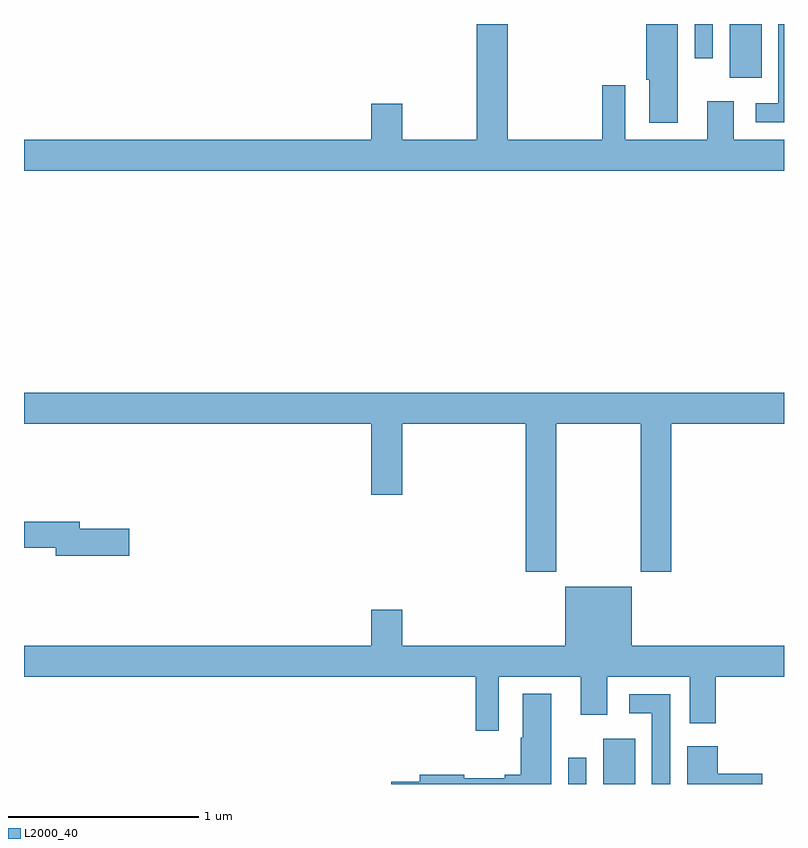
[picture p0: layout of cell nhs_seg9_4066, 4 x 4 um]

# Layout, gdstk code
import gdstk
lib = gdstk.Library(unit=1e-6, precision=1e-09)
def R(c, l, rs):  # rectangles x0, y0, x1, y1
    for r in rs: c.add(gdstk.rectangle(r[:2], r[2:], *l))
def P(c, l, *ps):  # polygons
    for p in ps: c.add(gdstk.Polygon(p, *l))
L2000_40 = (2000, 40)

nhs_seg9_4066 = lib.new_cell('nhs_seg9_4066')
R(nhs_seg9_4066, L2000_40, [(345.864,1218.5,345.96,1218.637), (346.049,1218.5,346.216,1218.739), (346.715,1222.218,346.882,1222.5), (346.53,1222.32,346.626,1222.5)])
P(nhs_seg9_4066, L2000_40, [(346.441,1222.5),(346.274,1222.5),(346.274,1222.206),(346.292,1222.206),(346.292,1221.981),(346.441,1221.981)],
  [(347,1222.5),(346.971,1222.5),(346.971,1222.084),(346.851,1222.084),(346.851,1221.983),(347,1221.983)],
  [(347,1221.892),(346.735,1221.892),(346.735,1222.093),(346.595,1222.093),(346.595,1221.892),(346.165,1221.892),(346.165,1222.177),(346.044,1222.177),(346.044,1221.892),(345.547,1221.892),(345.547,1222.5),(345.383,1222.5),(345.383,1221.892),(344.992,1221.892),(344.992,1222.081),(344.828,1222.081),(344.828,1221.892),(343,1221.892),(343,1221.728),(347,1221.728)],
  [(345.801,1220.396),(346.246,1220.396),(346.246,1219.617),(346.406,1219.617),(346.406,1220.396),(347,1220.396),(347,1220.56),(343,1220.56),(343,1220.396),(344.828,1220.396),(344.828,1220.022),(344.992,1220.022),(344.992,1220.396),(345.641,1220.396),(345.641,1219.617),(345.801,1219.617)],
  [(343.555,1219.844),(343.294,1219.844),(343.294,1219.88),(343,1219.88),(343,1219.744),(343.166,1219.744),(343.166,1219.702),(343.555,1219.702)],
  [(345.499,1219.064),(345.929,1219.064),(345.929,1218.864),(346.069,1218.864),(346.069,1219.064),(346.505,1219.064),(346.505,1218.819),(346.64,1218.819),(346.64,1219.064),(347,1219.064),(347,1219.228),(346.198,1219.228),(346.198,1219.537),(345.848,1219.537),(345.848,1219.228),(344.992,1219.228),(344.992,1219.417),(344.828,1219.417),(344.828,1219.228),(343,1219.228),(343,1219.064),(345.378,1219.064),(345.378,1218.78),(345.499,1218.78)],
  [(345.775,1218.976),(345.626,1218.976),(345.626,1218.744),(345.614,1218.744),(345.614,1218.548),(345.53,1218.548),(345.53,1218.531),(345.318,1218.531),(345.318,1218.548),(345.083,1218.548),(345.083,1218.512),(344.934,1218.512),(344.934,1218.5),(345.775,1218.5)],
  [(346.401,1218.973),(346.185,1218.973),(346.185,1218.872),(346.305,1218.872),(346.305,1218.5),(346.401,1218.5)],
  [(346.885,1218.554),(346.652,1218.554),(346.652,1218.7),(346.49,1218.7),(346.49,1218.5),(346.885,1218.5)])

lib.write_gds('nhs_seg9_4066.gds')
